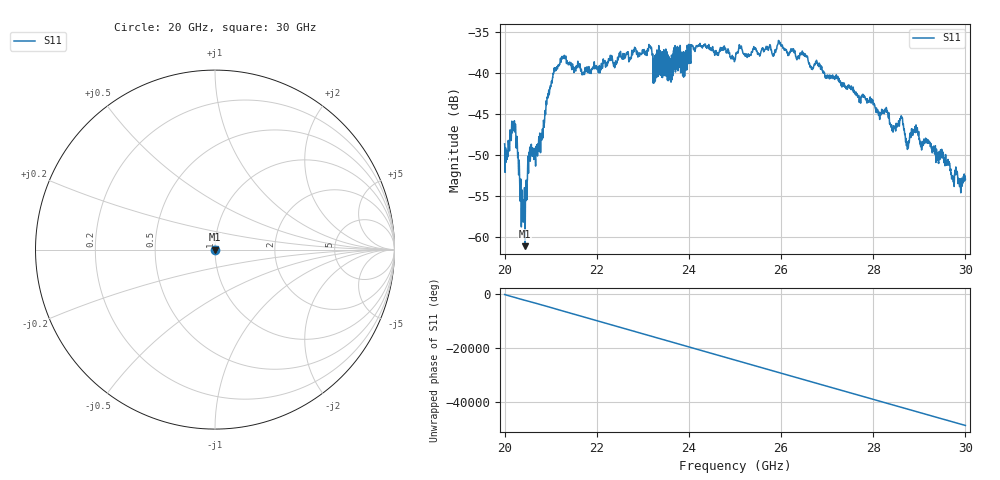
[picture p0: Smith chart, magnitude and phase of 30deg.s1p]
#  HZ  S  RI  R  50.00
! Rohde & Schwarz ZVA40 4Ports - Version 3.90 - 1145.1110k42 SN: 100403
! Date: 2023-10-03 10:35:44
! Measurement: S12
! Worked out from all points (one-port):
!   5001 points, 20 GHz to 30 GHz, reference 50 ohm
!   lowest |S11| = -61.1 dB at 20.44 GHz (marker M1), VSWR 1.00, Z = 50 - j0.0873 ohm
!   |S11| at or under -10 dB: start of sweep to end of sweep
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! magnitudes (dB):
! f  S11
! 20 GHz  -48.7
! 20.2 GHz  -46.3
! 20.27 GHz  -47.9
! 20.37 GHz  -54.2
! 20.44 GHz  -61.1
! 20.55 GHz  -49.4
! 20.76 GHz  -47.7
! 21.03 GHz  -41.0
! 21.25 GHz  -38.2
! 21.72 GHz  -40.1
! 22.5 GHz  -38.0
! 23.15 GHz  -36.9
! 23.25 GHz  -40.0
! 23.56 GHz  -38.6
! 23.75 GHz  -36.8
! 23.91 GHz  -40.4
! 24.2 GHz  -36.7
! 25 GHz  -38.4
! 26.25 GHz  -37.1
! 27.5 GHz  -41.8
! 28.3 GHz  -44.8
! 28.44 GHz  -46.8
! 28.6 GHz  -45.3
! 28.75 GHz  -48.8
! 28.94 GHz  -47.2
! 29.5 GHz  -50.4
! 29.72 GHz  -52.9
! 30 GHz  -53.0
